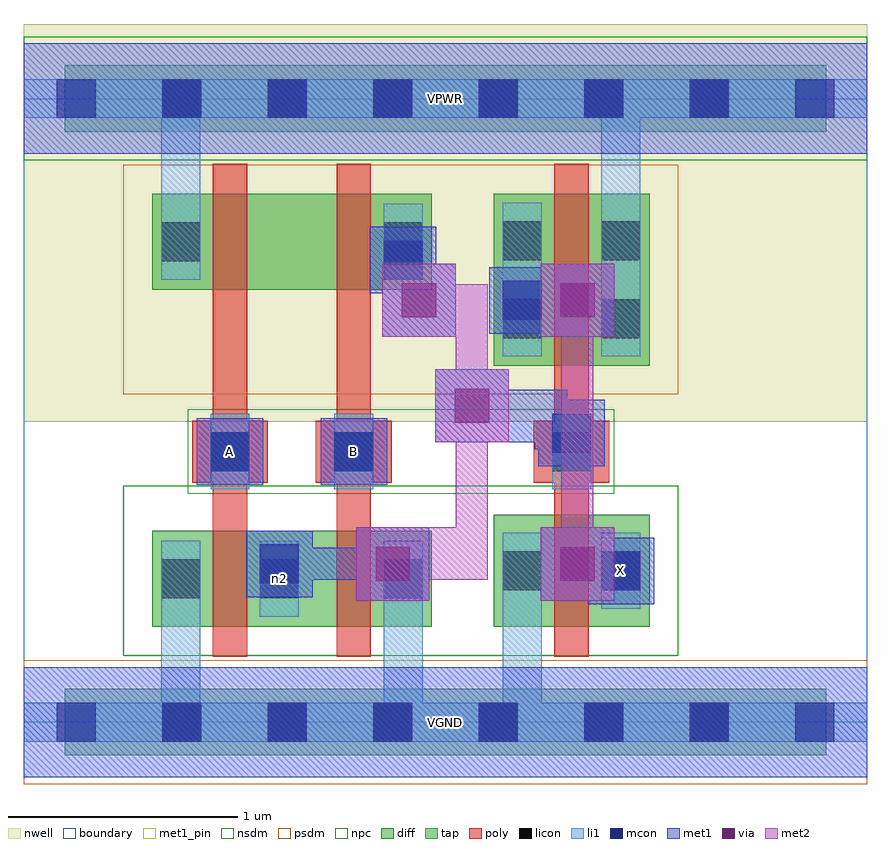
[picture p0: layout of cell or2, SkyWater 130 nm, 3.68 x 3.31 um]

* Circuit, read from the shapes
.subckt or2 A B VGND VPWR X n2
XM1 n2 A VGND VGND sky130_fd_pr__nfet_01v8 w=0.42 l=0.15
XM2 VGND B n2 VGND sky130_fd_pr__nfet_01v8 w=0.42 l=0.15
XM3 X n2 VGND VGND sky130_fd_pr__nfet_01v8 w=0.49 l=0.15
XM4 n1 A VPWR VPWR sky130_fd_pr__pfet_01v8 w=0.42 l=0.15
XM5 n2 B n1 VPWR sky130_fd_pr__pfet_01v8 w=0.42 l=0.15
XM6 VPWR n2 X VPWR sky130_fd_pr__pfet_01v8 w=0.75 l=0.15
.ends

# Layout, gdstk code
import gdstk
lib = gdstk.Library(unit=1e-6, precision=1e-09)
def R(c, l, rs):  # rectangles x0, y0, x1, y1
    for r in rs: c.add(gdstk.rectangle(r[:2], r[2:], *l))
def A(c, l, x, y, w, h, nx, ny, dx, dy):  # array of equal rectangles
    R(c, l, [(x+i*dx, y+j*dy, x+i*dx+w, y+j*dy+h) for i in range(nx) for j in range(ny)])
nwell = (64, 20)
diff = (65, 20)
tap = (65, 44)
poly = (66, 20)
licon = (66, 44)
li1 = (67, 20)
mcon = (67, 44)
met1_pin = (68, 16)
met1 = (68, 20)
via = (68, 44)
met2 = (69, 20)
nsdm = (93, 44)
psdm = (94, 20)
npc = (95, 20)
boundary = (235, 4)

or2 = lib.new_cell('or2')
R(or2, nwell, [(0,1.31,3.68,3.045)])
R(or2, diff, [(0.56,0.415,1.78,0.835), (2.05,0.415,2.73,0.905), (2.05,1.555,2.73,2.305), (0.56,1.885,1.78,2.305)])
R(or2, tap, [(0.18,-0.145,3.5,0.145), (0.18,2.575,3.5,2.865)])
R(or2, poly, [(0.825,0.285,0.975,2.435), (1.365,0.285,1.515,2.435), (2.315,0.285,2.465,2.435), (0.735,1.045,1.065,1.315), (1.275,1.045,1.605,1.315), (2.225,1.045,2.555,1.315)])
A(or2, licon, 0.605, -0.085, 0.17, 0.17, 6, 2, 0.46, 2.72)
R(or2, licon, [(0.6,0.54,0.77,0.71), (1.03,0.54,1.2,0.71), (1.57,0.54,1.74,0.71), (2.09,0.575,2.26,0.745), (2.52,0.575,2.69,0.745), (0.815,1.095,0.985,1.265), (1.355,1.095,1.525,1.265), (2.305,1.095,2.475,1.265), (2.09,1.675,2.26,1.845), (2.52,1.675,2.69,1.845), (0.6,2.01,0.77,2.18), (1.57,2.01,1.74,2.18), (2.09,2.015,2.26,2.185), (2.52,2.015,2.69,2.185)])
R(or2, li1, [(0,-0.085,3.68,0.085), (0.6,-0.085,0.77,0.79), (1.57,-0.085,1.74,0.79), (2.09,-0.085,2.26,0.825), (0.6,0.46,0.77,0.79), (1.03,0.46,1.2,0.79), (1.57,0.46,1.74,0.79), (2.09,0.495,2.26,0.825), (2.52,0.495,2.69,0.825), (0.815,1.015,0.985,1.345), (1.355,1.015,1.525,1.345), (2.305,1.015,2.475,1.345), (2.09,1.595,2.26,2.265), (2.52,1.595,2.69,2.265), (2.52,1.595,2.69,2.805), (0.6,1.93,0.77,2.26), (0.6,1.93,0.77,2.805), (1.57,1.93,1.74,2.26), (0,2.635,3.68,2.805)])
A(or2, mcon, 0.145, -0.085, 0.17, 0.17, 8, 2, 0.46, 2.72)
R(or2, mcon, [(2.52,0.575,2.69,0.745), (1.03,0.605,1.2,0.775), (0.815,1.095,0.985,1.265), (1.355,1.095,1.525,1.265), (2.305,1.175,2.475,1.345), (2.09,1.755,2.26,1.925), (1.57,1.93,1.74,2.1)])
R(or2, met1_pin, [(0,-0.24,3.68,0.24), (2.46,0.515,2.75,0.805), (0.755,1.035,1.045,1.325), (1.295,1.035,1.585,1.325), (0,2.48,3.68,2.96)])
R(or2, met1, [(0,-0.24,3.68,0.24), (2.46,0.515,2.75,0.805), (1.45,0.53,1.77,0.85), (2.255,0.53,2.575,0.85), (0.97,0.545,1.26,0.835), (1.045,0.62,1.335,0.76), (1.195,0.62,1.68,0.76), (2.345,0.62,2.6,0.76), (2.46,0.62,2.6,0.76), (0.755,1.035,1.045,1.325), (1.295,1.035,1.585,1.325), (2.245,1.115,2.535,1.405), (2.23,1.19,2.46,1.33), (2.23,1.19,2.37,1.45), (1.795,1.22,2.115,1.54), (2.115,1.22,2.245,1.405), (2.115,1.22,2.23,1.33), (2.115,1.22,2.23,1.45), (1.885,1.31,2.37,1.45), (1.565,1.68,1.885,2), (2.255,1.68,2.575,2), (2.03,1.695,2.32,1.985), (1.655,1.77,1.795,2.085), (2.105,1.77,2.37,1.91), (2.23,1.77,2.485,1.91), (1.51,1.87,1.8,2.16), (1.585,1.945,1.795,2.085), (0,2.48,3.68,2.96)])
R(or2, via, [(1.535,0.615,1.685,0.765), (2.34,0.615,2.49,0.765), (1.88,1.305,2.03,1.455), (1.65,1.765,1.8,1.915), (2.34,1.765,2.49,1.915)])
R(or2, met2, [(1.45,0.53,1.77,0.85), (2.255,0.53,2.575,0.85), (1.54,0.62,2.025,0.76), (1.77,0.62,1.885,0.85), (1.885,0.62,2.025,1.45), (2.345,0.62,2.485,1.91), (1.795,1.22,2.115,1.54), (1.885,1.31,2.025,1.91), (1.565,1.68,1.885,2), (2.255,1.68,2.575,2), (1.655,1.77,2.025,1.91)])
R(or2, nsdm, [(0.435,0.29,2.855,1.03), (0,2.45,3.68,2.99)])
R(or2, psdm, [(0,-0.27,3.68,0.27), (0.435,1.43,2.855,2.43)])
R(or2, npc, [(0.715,0.995,2.575,1.365)])
R(or2, boundary, [(0,0,3.68,2.72)])
or2.add(gdstk.Label('n2', (1.115,0.625), layer=67, texttype=5))
or2.add(gdstk.Label('A', (0.9,1.18), layer=68, texttype=5))
or2.add(gdstk.Label('B', (1.44,1.18), layer=68, texttype=5))
or2.add(gdstk.Label('X', (2.605,0.66), layer=68, texttype=5))
or2.add(gdstk.Label('VPWR', (1.84,2.72), layer=68, texttype=5))
or2.add(gdstk.Label('VGND', (1.84,0), layer=68, texttype=5))
or2.add(gdstk.Label('A', (0.9,1.18), layer=68, texttype=16))
or2.add(gdstk.Label('B', (1.44,1.18), layer=68, texttype=16))
or2.add(gdstk.Label('X', (2.605,0.66), layer=68, texttype=16))
or2.add(gdstk.Label('VPWR', (1.84,2.72), layer=68, texttype=16))
or2.add(gdstk.Label('VGND', (1.84,0), layer=68, texttype=16))

lib.write_gds('or2.gds')
